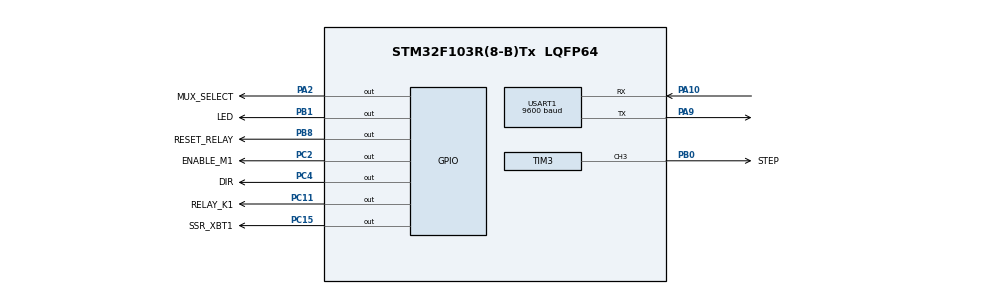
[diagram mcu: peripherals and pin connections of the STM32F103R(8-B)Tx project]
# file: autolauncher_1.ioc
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Mcu.Family=STM32F1
Mcu.Name=STM32F103R(8-B)Tx
Mcu.Package=LQFP64
NVIC.PriorityGroup=NVIC_PRIORITYGROUP_4
PA10.Mode=Asynchronous
PA10.Signal=USART1_RX
PA13.Mode=Serial_Wire
PA13.Signal=SYS_JTMS-SWDIO
PA14.Mode=Serial_Wire
PA14.Signal=SYS_JTCK-SWCLK
PA2.GPIO_Label=MUX_SELECT
PA2.Signal=GPIO_Output
PA9.Mode=Asynchronous
PA9.Signal=USART1_TX
PB0.GPIO_Label=STEP
PB0.Signal=S_TIM3_CH3
PB1.GPIO_Label=LED
PB1.Signal=GPIO_Output
PB8.GPIO_Label=RESET_RELAY
PB8.Signal=GPIO_Output
PC11.GPIO_Label=RELAY_K1
PC11.Signal=GPIO_Output
PC15-OSC32_OUT.GPIO_Label=SSR_XBT1
PC15-OSC32_OUT.Signal=GPIO_Output
PC2.GPIO_Label=ENABLE_M1
PC2.Signal=GPIO_Output
PC4.GPIO_Label=DIR
PC4.Signal=GPIO_Output
ProjectManager.HeapSize=0x200
ProjectManager.StackSize=0x400
ProjectManager.TargetToolchain=STM32CubeIDE
RCC.APB1Freq_Value=8000000
RCC.APB2Freq_Value=8000000
SH.S_TIM3_CH3.0=TIM3_CH3,Output Compare3 CH3
TIM3.AutoReloadPreload=TIM_AUTORELOAD_PRELOAD_ENABLE
TIM3.Channel-Output\ Compare3\ CH3=TIM_CHANNEL_3
TIM3.OCMode_3=TIM_OCMODE_TOGGLE
TIM3.Period=15-1
TIM3.Prescaler=1000-1
USART1.BaudRate=9600
USART1.VirtualMode=VM_ASYNC
board=custom

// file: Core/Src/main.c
/* USER CODE BEGIN Header */
/**
  ******************************************************************************
  * @file           : main.c
  * @brief          : Main program body
  ******************************************************************************
  * @attention
  *
  * Copyright (c) 2024 STMicroelectronics.
  * All rights reserved.
  *
  * This software is licensed under terms that can be found in the LICENSE file
  * in the root directory of this software component.
  * If no LICENSE file comes with this software, it is provided AS-IS.
  *
  ******************************************************************************
  */
/* USER CODE END Header */
#include "main.h"

/* USER CODE BEGIN Includes */
#include <stdio.h>
/* USER CODE END Includes */

TIM_HandleTypeDef htim3;

UART_HandleTypeDef huart1;

void SystemClock_Config(void);
static void MX_GPIO_Init(void);
static void MX_USART1_UART_Init(void);
static void MX_TIM3_Init(void);

int main(void)
{

  /* MCU Configuration--------------------------------------------------------*/

  /* Reset of all peripherals, Initializes the Flash interface and the Systick. */
  HAL_Init();

  /* Configure the system clock */
  SystemClock_Config();

  /* Initialize all configured peripherals */
  MX_GPIO_Init();
  MX_USART1_UART_Init();
  MX_TIM3_Init();
  /* USER CODE BEGIN 2 */

  /* UART MAX232*/
  // Send hello world to terminal
  HAL_GPIO_WritePin(MUX_SELECT_GPIO_Port, MUX_SELECT_Pin, SET); // SET = UART-tx / RESET = Din from GPS
  char text[] = "Hello World!\r\n";
  HAL_UART_Transmit(&huart1, text, sizeof(text)/sizeof(text[0]), 1000);
  /* UART MAX232*/

  /* USER CODE END 2 */

  /* Infinite loop */
  /* USER CODE BEGIN WHILE */

  // Start counting up to send over UART
  uint8_t count = 0;
  char buffer[10];

  // relay flag
  uint8_t relayFlag = 0;
  // Initialize relay in reset state
  HAL_GPIO_WritePin(RESET_RELAY_GPIO_Port, RESET_RELAY_Pin, SET); // reset relay
  HAL_Delay(10);
  HAL_GPIO_WritePin(RESET_RELAY_GPIO_Port, RESET_RELAY_Pin, RESET); // release reset coil
  HAL_Delay(5);

  // Start timer for STEP signal
  HAL_TIM_OC_Start(&htim3, TIM_CHANNEL_3 ); // Start STEP signal >> counter toggle to toggle every 20/1000 sec = 50hz
  HAL_GPIO_WritePin(ENABLE_M1_GPIO_Port, ENABLE_M1_Pin, SET); // Active low >> start disabled

  while (1)
  {
	  // Toggle green led
	  HAL_GPIO_TogglePin(LED_GPIO_Port, LED_Pin);

	  // Send count number to terminal
	  sprintf(buffer, "> %d\r\n", count);
	  HAL_UART_Transmit(&huart1, buffer, 10, 1000);
	  count++;

	  // Toggle relay K1 XBT1
	  // for future security read reset pin state to ensure set and reset coils are not energized simultaneously
	  if(0 == relayFlag){
		  // SET relay k1
		  HAL_GPIO_WritePin(RELAY_K1_GPIO_Port, RELAY_K1_Pin, SET); // set relay
		  HAL_Delay(10);
		  HAL_GPIO_WritePin(RELAY_K1_GPIO_Port, RELAY_K1_Pin, RESET); // release coil
		  HAL_Delay(5);
		  // SET SSR1 XBT1
		  HAL_GPIO_WritePin(SSR_XBT1_GPIO_Port, SSR_XBT1_Pin, SET); // set SSR latch
		  HAL_Delay(10);
		  HAL_GPIO_WritePin(SSR_XBT1_GPIO_Port, SSR_XBT1_Pin, RESET); // release SSR latch
		  HAL_Delay(5);

		  relayFlag = 1;
	  } else {
		  // RESET relay k1
		  HAL_GPIO_WritePin(RESET_RELAY_GPIO_Port, RESET_RELAY_Pin, SET); // reset relay and SSR
		  HAL_Delay(10);
		  HAL_GPIO_WritePin(RESET_RELAY_GPIO_Port, RESET_RELAY_Pin, RESET); // release reset coil
		  HAL_Delay(5);
		  relayFlag = 0;
	  }

	  // motor
	  HAL_GPIO_WritePin(ENABLE_M1_GPIO_Port, ENABLE_M1_Pin, SET); // disable driver
	  HAL_Delay(500); // wait for the motor to stop
	  HAL_GPIO_TogglePin(DIR_GPIO_Port, DIR_Pin); // change direction
	  HAL_GPIO_WritePin(ENABLE_M1_GPIO_Port, ENABLE_M1_Pin, RESET); // enable driver

	  HAL_Delay(5000); // wait 10 seconds and toggle all
    /* USER CODE END WHILE */

  }
}

void SystemClock_Config(void)
{
  RCC_OscInitTypeDef RCC_OscInitStruct = {0};
  RCC_ClkInitTypeDef RCC_ClkInitStruct = {0};

  /** Initializes the RCC Oscillators according to the specified parameters
  * in the RCC_OscInitTypeDef structure.
  */
  RCC_OscInitStruct.OscillatorType = RCC_OSCILLATORTYPE_HSI;
  RCC_OscInitStruct.HSIState = RCC_HSI_ON;
  RCC_OscInitStruct.HSICalibrationValue = RCC_HSICALIBRATION_DEFAULT;
  RCC_OscInitStruct.PLL.PLLState = RCC_PLL_NONE;
  if (HAL_RCC_OscConfig(&RCC_OscInitStruct) != HAL_OK)
  {
    Error_Handler();
  }

  /** Initializes the CPU, AHB and APB buses clocks
  */
  RCC_ClkInitStruct.ClockType = RCC_CLOCKTYPE_HCLK|RCC_CLOCKTYPE_SYSCLK
                              |RCC_CLOCKTYPE_PCLK1|RCC_CLOCKTYPE_PCLK2;
  RCC_ClkInitStruct.SYSCLKSource = RCC_SYSCLKSOURCE_HSI;
  RCC_ClkInitStruct.AHBCLKDivider = RCC_SYSCLK_DIV1;
  RCC_ClkInitStruct.APB1CLKDivider = RCC_HCLK_DIV1;
  RCC_ClkInitStruct.APB2CLKDivider = RCC_HCLK_DIV1;

  if (HAL_RCC_ClockConfig(&RCC_ClkInitStruct, FLASH_LATENCY_0) != HAL_OK)
  {
    Error_Handler();
  }
}

static void MX_TIM3_Init(void)
{

  TIM_MasterConfigTypeDef sMasterConfig = {0};
  TIM_OC_InitTypeDef sConfigOC = {0};

  htim3.Instance = TIM3;
  htim3.Init.Prescaler = 1000-1;
  htim3.Init.CounterMode = TIM_COUNTERMODE_UP;
  htim3.Init.Period = 15-1;
  htim3.Init.ClockDivision = TIM_CLOCKDIVISION_DIV1;
  htim3.Init.AutoReloadPreload = TIM_AUTORELOAD_PRELOAD_ENABLE;
  if (HAL_TIM_OC_Init(&htim3) != HAL_OK)
  {
    Error_Handler();
  }
  sMasterConfig.MasterOutputTrigger = TIM_TRGO_RESET;
  sMasterConfig.MasterSlaveMode = TIM_MASTERSLAVEMODE_DISABLE;
  if (HAL_TIMEx_MasterConfigSynchronization(&htim3, &sMasterConfig) != HAL_OK)
  {
    Error_Handler();
  }
  sConfigOC.OCMode = TIM_OCMODE_TOGGLE;
  sConfigOC.Pulse = 0;
  sConfigOC.OCPolarity = TIM_OCPOLARITY_HIGH;
  sConfigOC.OCFastMode = TIM_OCFAST_DISABLE;
  if (HAL_TIM_OC_ConfigChannel(&htim3, &sConfigOC, TIM_CHANNEL_3) != HAL_OK)
  {
    Error_Handler();
  }
  HAL_TIM_MspPostInit(&htim3);

}

static void MX_USART1_UART_Init(void)
{

  huart1.Instance = USART1;
  huart1.Init.BaudRate = 9600;
  huart1.Init.WordLength = UART_WORDLENGTH_8B;
  huart1.Init.StopBits = UART_STOPBITS_1;
  huart1.Init.Parity = UART_PARITY_NONE;
  huart1.Init.Mode = UART_MODE_TX_RX;
  huart1.Init.HwFlowCtl = UART_HWCONTROL_NONE;
  huart1.Init.OverSampling = UART_OVERSAMPLING_16;
  if (HAL_UART_Init(&huart1) != HAL_OK)
  {
    Error_Handler();
  }

}

static void MX_GPIO_Init(void)
{
  GPIO_InitTypeDef GPIO_InitStruct = {0};

  /* GPIO Ports Clock Enable */
  __HAL_RCC_GPIOC_CLK_ENABLE();
  __HAL_RCC_GPIOA_CLK_ENABLE();
  __HAL_RCC_GPIOB_CLK_ENABLE();

  /*Configure GPIO pin Output Level */
  HAL_GPIO_WritePin(GPIOC, SSR_XBT1_Pin|ENABLE_M1_Pin|DIR_Pin|RELAY_K1_Pin, GPIO_PIN_RESET);

  /*Configure GPIO pin Output Level */
  HAL_GPIO_WritePin(MUX_SELECT_GPIO_Port, MUX_SELECT_Pin, GPIO_PIN_RESET);

  /*Configure GPIO pin Output Level */
  HAL_GPIO_WritePin(GPIOB, LED_Pin|RESET_RELAY_Pin, GPIO_PIN_RESET);

  /*Configure GPIO pins : SSR_XBT1_Pin ENABLE_M1_Pin DIR_Pin RELAY_K1_Pin */
  GPIO_InitStruct.Pin = SSR_XBT1_Pin|ENABLE_M1_Pin|DIR_Pin|RELAY_K1_Pin;
  GPIO_InitStruct.Mode = GPIO_MODE_OUTPUT_PP;
  GPIO_InitStruct.Pull = GPIO_NOPULL;
  GPIO_InitStruct.Speed = GPIO_SPEED_FREQ_LOW;
  HAL_GPIO_Init(GPIOC, &GPIO_InitStruct);

  /*Configure GPIO pin : MUX_SELECT_Pin */
  GPIO_InitStruct.Pin = MUX_SELECT_Pin;
  GPIO_InitStruct.Mode = GPIO_MODE_OUTPUT_PP;
  GPIO_InitStruct.Pull = GPIO_NOPULL;
  GPIO_InitStruct.Speed = GPIO_SPEED_FREQ_LOW;
  HAL_GPIO_Init(MUX_SELECT_GPIO_Port, &GPIO_InitStruct);

  /*Configure GPIO pins : LED_Pin RESET_RELAY_Pin */
  GPIO_InitStruct.Pin = LED_Pin|RESET_RELAY_Pin;
  GPIO_InitStruct.Mode = GPIO_MODE_OUTPUT_PP;
  GPIO_InitStruct.Pull = GPIO_NOPULL;
  GPIO_InitStruct.Speed = GPIO_SPEED_FREQ_LOW;
  HAL_GPIO_Init(GPIOB, &GPIO_InitStruct);

}

void Error_Handler(void)
{
  __disable_irq();
  while (1)
  {
  }
}
